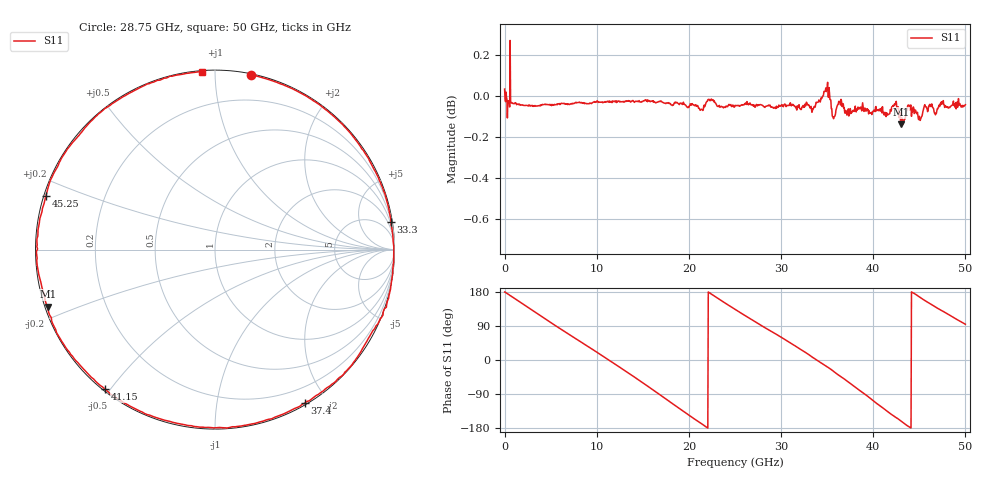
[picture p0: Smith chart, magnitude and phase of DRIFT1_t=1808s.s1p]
!Created with skrf (http://scikit-rf.org).
# Hz S RI R 50.0
!freq ReS11 ImS11
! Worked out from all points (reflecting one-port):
!   1001 points, 300 kHz to 50 GHz, reference 50 ohm
!   lowest |S11| = -0.1 dB at 43 GHz (marker M1), VSWR 124.62, Z = 0.412 - j8.28 ohm
!   phase of S11 starts at 179 deg and turns -805 deg over the sweep
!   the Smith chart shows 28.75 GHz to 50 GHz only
!   S11 on the Smith chart (normalised r, x): 28.75 GHz: 0.01, +1.23; 33.3 GHz: 1, +13; 37.4 GHz: 0.02, -1.74; 41.15 GHz: 0.01, -0.48; 45.25 GHz: 0.01, +0.15; 50 GHz: 0.00, +0.93
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300000  -1.004 0.011
1.65029e9  -0.8869 0.4509
3.500279e9  -0.5401 0.8348
6.250262e9  0.186 0.9781
7.850253e9  0.5813 0.8089
9.650242e9  0.8931 0.442
1.250022e10  0.941 -0.328
1.400022e10  0.7219 -0.6873
1.58502e10  0.266 -0.9607
1.72502e10  -0.1477 -0.985
1.875019e10  -0.5614 -0.8228
2.035018e10  -0.8757 -0.4737
2.190017e10  -0.9953 -0.0491
2.500015e10  -0.6855 0.7207
2.685014e10  -0.2719 0.9569
2.875013e10  0.2021 0.9737
3.125011e10  0.7471 0.6575
3.33001e10  0.98 0.1559
3.520009e10  0.936 -0.3649
3.740008e10  0.5003 -0.8553
3.750008e10  0.4724 -0.8732
3.930006e10  -0.0677 -0.9894
4.115005e10  -0.6144 -0.7758
4.300004e10  -0.9316 -0.3171
4.375004e10  -0.9897 -0.0993
4.525003e10  -0.9424 0.2982
4.755001e10  -0.623 0.7772
5e10  -0.074 0.9922
